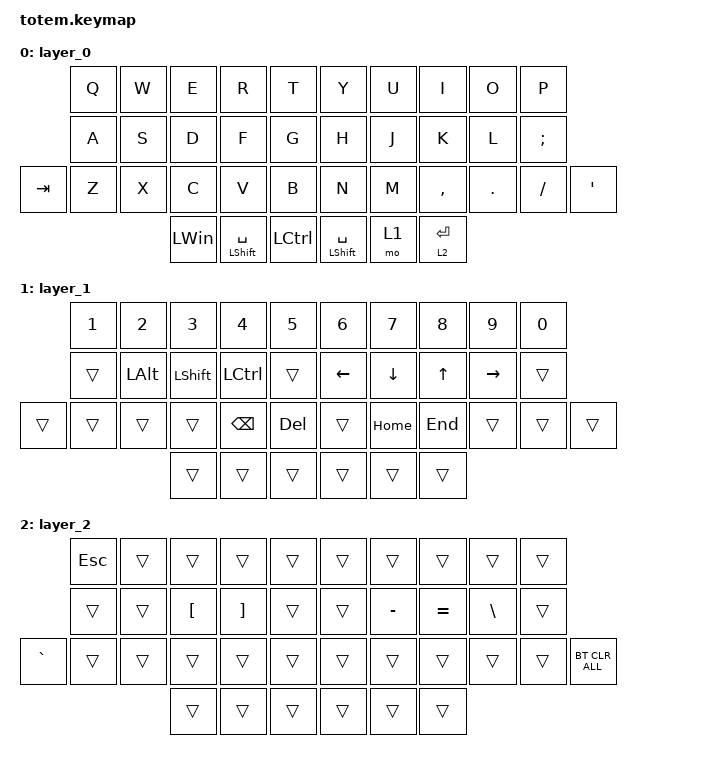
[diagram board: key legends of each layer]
//
//                                                        ▀▀▀▀▀     ▀▀▀▀▀          ▀▀█▀▀
//                                                        ▄▀▀▀▄  ▄  ▄▀▀▀▄  ▄  ▄▀▀▀▄  █  ▄▀▀▀▄
//                                                        █   █  █  █   █  █  █   █  █  █   █
//                                                         ▀▀▀   █   ▀▀▀   █   ▀▀▀   ▀   ▀▀▀
//                                                               █      ▄▄▄█▄▄▄    █   █  
//                                                               ▀      █  █  █     █▄█
//                                                             ▀▀▀▀▀    █  █  █      ▀
//                                                                      ▀  ▀  ▀
//
// ▄▄▄▄▄▄▄▄▄▄▄▄▄▄▄▄▄▄▄▄▄▄▄▄▄▄▄▄▄▄▄▄▄▄▄▄▄▄▄▄▄▄▄▄▄▄▄▄▄▄▄▄▄▄▄▄▄▄▄▄▄▄▄▄▄▄▄▄▄▄▄▄▄▄▄▄▄▄▄▄▄▄▄▄▄▄▄▄▄▄▄▄▄▄▄▄▄▄▄▄▄▄▄▄▄▄▄▄▄▄▄▄▄▄▄▄▄▄▄▄▄▄▄▄▄▄▄▄▄▄▄▄▄▄▄▄▄▄▄▄▄▄▄▄▄▄▄▄▄
       

#include <behaviors.dtsi>
#include <dt-bindings/zmk/keys.h>
#include <dt-bindings/zmk/bt.h>
#include <dt-bindings/zmk/outputs.h>

#define BASE 0
#define NAV  1
#define SYM  2
#define ADJ  3
#define TVP1 4
#define TVP2 5

&mt {
  quick-tap-ms = <100>;
  global-quick-tap;
  flavor = "tap-preferred";
  tapping-term-ms = <170>;
};

/ {
     combos {
            compatible = "zmk,combos";
            combo_esc {
                timeout-ms = <50>;
                key-positions = <0 1>;
                bindings = <&kp ESC>;
            };
            combo_tvp {
                timeout-ms = <100>;
                key-positions = <11 12 13>;
                bindings = <&tog TVP1>;
            };
    };

    macros {
        gif: gif {
            label = "giphy";
            compatible = "zmk,behavior-macro";
            #binding-cells = <0>;
            bindings
                = <&macro_press &kp LSHFT>
                , <&macro_tap &kp N2>
                , <&macro_release &kp LSHFT>
                , <&macro_tap &kp G &kp I &kp F>
                ;
        };
    };

    keymap {
        compatible = "zmk,keymap";

        layer_0 {
            bindings = <
         &kp Q  &kp W  &kp E     &kp R                 &kp T        &kp Y             &kp U  &kp I        &kp O       &kp P
         &kp A  &kp S  &kp D     &kp F                 &kp G        &kp H             &kp J  &kp K        &kp L       &kp SEMICOLON
&kp TAB  &kp Z  &kp X  &kp C     &kp V                 &kp B        &kp N             &kp M  &kp COMMA    &kp PERIOD  &kp SLASH      &kp SQT
                       &kp LWIN  &mt LEFT_SHIFT SPACE  &kp LCTRL    &mt LSHIFT SPACE  &mo 1  &lt 2 ENTER
            >;
        };

        layer_1 {
            bindings = <
        &kp NUMBER_1  &kp NUMBER_2  &kp NUMBER_3    &kp NUMBER_4   &kp N5        &kp NUMBER_6  &kp N7    &kp N8   &kp N9     &kp N0
        &trans        &kp LEFT_ALT  &kp LEFT_SHIFT  &kp LCTRL      &trans        &kp LEFT      &kp DOWN  &kp UP   &kp RIGHT  &trans
&trans  &trans        &trans        &trans          &kp BACKSPACE  &kp DELETE    &trans        &kp HOME  &kp END  &trans     &trans  &trans
                &trans          &trans         &trans        &trans        &trans    &trans
                >;
            };

            layer_2 {
                bindings = <
               &kp ESCAPE  &trans  &trans            &trans             &trans    &trans  &trans     &trans     &trans         &trans
               &trans      &trans  &kp LEFT_BRACKET  &kp RIGHT_BRACKET  &trans    &trans  &kp MINUS  &kp EQUAL  &kp BACKSLASH  &trans
    &kp GRAVE  &trans      &trans  &trans            &trans             &trans    &trans  &trans     &trans     &trans         &trans  &bt BT_CLR_ALL
                                   &trans            &trans             &trans    &trans  &trans     &trans
            >;
        };
    };
};
